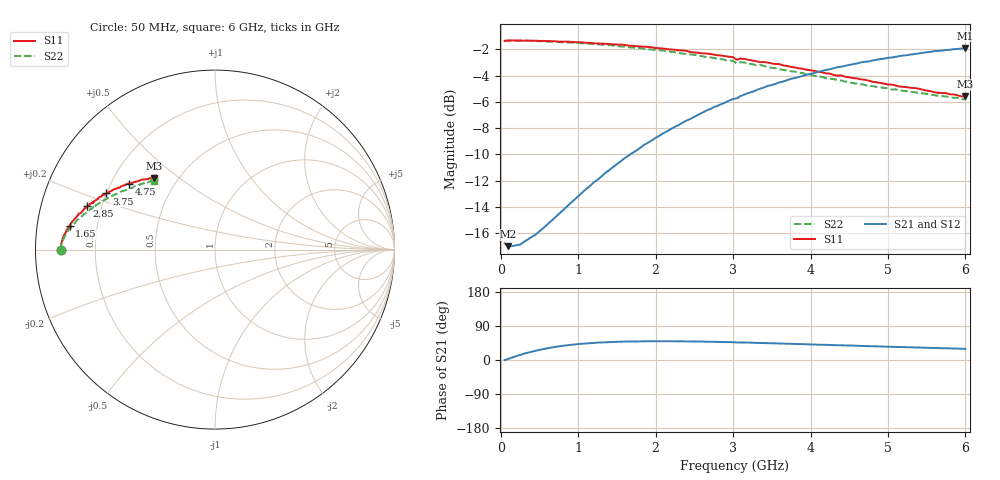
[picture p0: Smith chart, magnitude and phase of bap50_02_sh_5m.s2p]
! Created by janssen on Wed Jul 24 12:32:27 METDST 2002
# HZ S MA R 50
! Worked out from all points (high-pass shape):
!   120 points, 50 MHz to 6 GHz, reference 50 ohm
!   highest |S21| = -1.90 dB at 6 GHz (marker M1); lowest = -17.0 dB at 100 MHz (marker M2)
!   |S21| within 3 dB of the highest: 3.403 GHz to end of sweep
!   lowest |S11| = -5.6 dB at 6 GHz (marker M3), VSWR 3.21, Z = 18.5 + j20.4 ohm
!   |S11| at or under -10 dB: nowhere
!   |S22| runs from -5.8 to -1.3 dB; largest |S21 - S12| = 0.016
!   S11 on the Smith chart (normalised r, x): 50 MHz: 0.08, -0.00; 1.65 GHz: 0.10, +0.08; 2.85 GHz: 0.15, +0.16; 3.75 GHz: 0.20, +0.23; 4.75 GHz: 0.27, +0.32; 6 GHz: 0.37, +0.41
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5e7  0.8554 -179.7  0.1446 -0.4  0.1443 -1.2  0.8566 -179.7
1e8  0.8585 179.9  0.1412 3.3  0.1414 3.1  0.8584 179.8
2.5e8  0.8589 178.9  0.1432 13.3  0.1439 13.2  0.8573 178.9
4.5e8  0.8569 177.7  0.1562 24.3  0.1568 24.4  0.8542 177.7
1.05e9  0.8451 174.5  0.2257 42.9  0.2249 42.9  0.8379 174.6
1.4e9  0.8323 172.4  0.2752 47.3  0.2752 47.0  0.8237 172.4
1.65e9  0.8212 170.7  0.3126 48.9  0.3105 48.2  0.8095 171.0
2.05e9  0.802 167.9  0.3723 49.5  0.37 49.3  0.7885 168.4
2.4e9  0.7834 165.1  0.4252 49.1  0.4215 49.1  0.7623 165.7
2.85e9  0.7521 161.3  0.4915 47.5  0.4851 47.6  0.7304 161.8
3e9  0.7423 160.0  0.5139 46.9  0.5071 46.8  0.7181 160.6
3.05e9  0.7253 158.7  0.517 46.4  0.51 46.7  0.7018 160.1
3.1e9  0.7336 159.1  0.5279 46.4  0.5207 46.4  0.71 159.8
3.35e9  0.7097 156.5  0.5626 45.0  0.5542 45.2  0.6924 157.4
3.6e9  0.6982 154.2  0.5948 43.6  0.5841 43.9  0.6673 155.1
3.75e9  0.6808 152.6  0.6135 42.7  0.6042 43.0  0.6551 153.5
4.05e9  0.6576 149.4  0.6457 40.8  0.6395 41.3  0.6304 150.6
4.3e9  0.6342 147.2  0.6733 39.3  0.665 39.7  0.6115 147.6
4.75e9  0.604 142.5  0.7146 36.6  0.7083 37.4  0.5754 143.5
5.05e9  0.5829 139.5  0.7399 34.8  0.7347 35.8  0.5584 140.4
5.55e9  0.5504 134.5  0.7767 32.0  0.7709 32.9  0.5355 135.2
6e9  0.5253 130.6  0.8035 29.4  0.8036 30.4  0.5117 131.6
